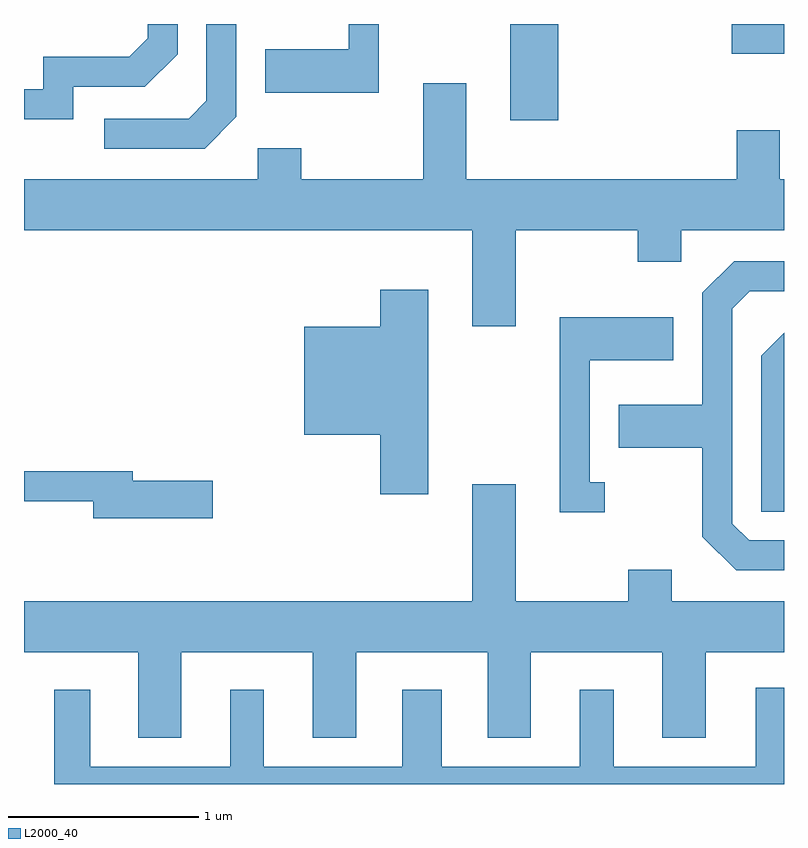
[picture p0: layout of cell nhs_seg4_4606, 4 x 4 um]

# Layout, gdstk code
import gdstk
lib = gdstk.Library(unit=1e-6, precision=1e-09)
def R(c, l, rs):  # rectangles x0, y0, x1, y1
    for r in rs: c.add(gdstk.rectangle(r[:2], r[2:], *l))
def P(c, l, *ps):  # polygons
    for p in ps: c.add(gdstk.Polygon(p, *l))
L2000_40 = (2000, 40)

nhs_seg4_4606 = lib.new_cell('nhs_seg4_4606')
R(nhs_seg4_4606, L2000_40, [(322.171,1357.476,322.424,1357.982), (323.336,1357.826,323.611,1357.982)])
P(nhs_seg4_4606, L2000_40, [(320.729,1357.494),(320.729,1357.982),(320.571,1357.982),(320.571,1357.577),(320.479,1357.484),(320.033,1357.484),(320.033,1357.326),(320.562,1357.326)],
  [(319.869,1357.651),(320.247,1357.651),(320.419,1357.824),(320.419,1357.982),(320.261,1357.982),(320.261,1357.907),(320.164,1357.809),(319.711,1357.809),(319.711,1357.639),(319.611,1357.639),(319.611,1357.481),(319.869,1357.481)],
  [(321.479,1357.982),(321.321,1357.982),(321.321,1357.849),(320.881,1357.849),(320.881,1357.621),(321.479,1357.621)],
  [(322.199,1356.896),(322.841,1356.896),(322.841,1356.731),(323.069,1356.731),(323.069,1356.896),(323.611,1356.896),(323.611,1357.164),(323.589,1357.164),(323.589,1357.424),(323.361,1357.424),(323.361,1357.164),(321.939,1357.164),(321.939,1357.669),(321.711,1357.669),(321.711,1357.164),(321.069,1357.164),(321.069,1357.329),(320.841,1357.329),(320.841,1357.164),(319.611,1357.164),(319.611,1356.896),(321.971,1356.896),(321.971,1356.391),(322.199,1356.391)],
  [(323.611,1355.264),(323.427,1355.264),(323.339,1355.352),(323.339,1356.484),(323.432,1356.576),(323.611,1356.576),(323.611,1356.734),(323.349,1356.734),(323.181,1356.567),(323.181,1355.979),(322.741,1355.979),(322.741,1355.751),(323.181,1355.751),(323.181,1355.284),(323.359,1355.106),(323.611,1355.106)],
  [(321.739,1356.584),(321.486,1356.584),(321.486,1356.389),(321.086,1356.389),(321.086,1355.821),(321.486,1355.821),(321.486,1355.506),(321.739,1355.506)],
  [(322.668,1355.569),(322.589,1355.569),(322.589,1356.211),(323.029,1356.211),(323.029,1356.439),(322.431,1356.439),(322.431,1355.411),(322.668,1355.411)],
  [(323.611,1356.356),(323.491,1356.237),(323.491,1355.416),(323.611,1355.416)],
  [(320.604,1355.579),(320.184,1355.579),(320.184,1355.629),(319.611,1355.629),(319.611,1355.471),(319.976,1355.471),(319.976,1355.381),(320.604,1355.381)],
  [(320.439,1354.676),(321.131,1354.676),(321.131,1354.226),(321.359,1354.226),(321.359,1354.676),(322.051,1354.676),(322.051,1354.226),(322.279,1354.226),(322.279,1354.676),(322.971,1354.676),(322.971,1354.226),(323.199,1354.226),(323.199,1354.676),(323.611,1354.676),(323.611,1354.944),(323.019,1354.944),(323.019,1355.109),(322.791,1355.109),(322.791,1354.944),(322.199,1354.944),(322.199,1355.559),(321.971,1355.559),(321.971,1354.944),(319.611,1354.944),(319.611,1354.676),(320.211,1354.676),(320.211,1354.226),(320.439,1354.226)],
  [(323.611,1354.488),(323.461,1354.488),(323.461,1354.074),(322.714,1354.074),(322.714,1354.479),(322.536,1354.479),(322.536,1354.074),(321.809,1354.074),(321.809,1354.479),(321.601,1354.479),(321.601,1354.074),(320.874,1354.074),(320.874,1354.479),(320.696,1354.479),(320.696,1354.074),(319.959,1354.074),(319.959,1354.479),(319.771,1354.479),(319.771,1353.982),(323.611,1353.982)])

lib.write_gds('nhs_seg4_4606.gds')
